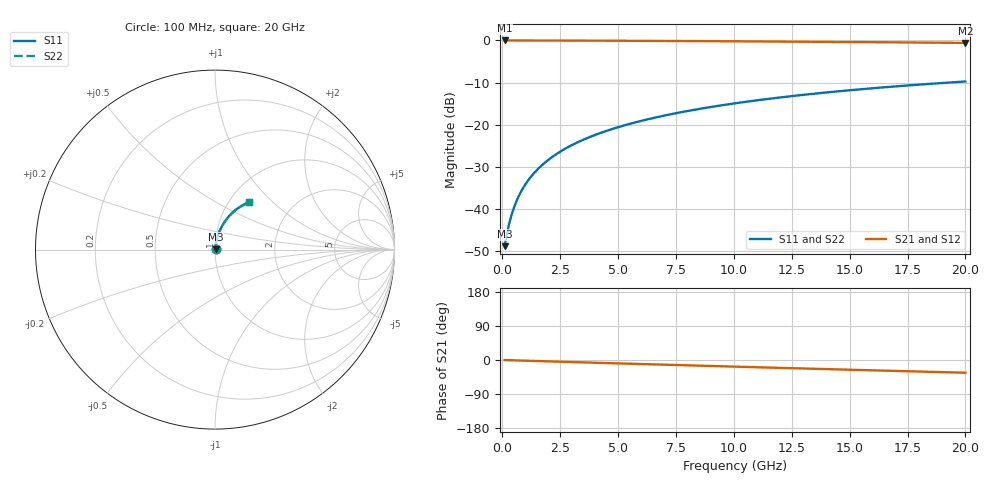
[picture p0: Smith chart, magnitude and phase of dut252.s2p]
! Touchstone file exported from HFSS 2026.1.0
!  File:  C:/ffzhzh/LocalFiles/Ansys_Project_Files/temp_train_BSMRDL_252_1782988634_6248.aedt
!  Generated:  06:38:31 PM Jul  2, 2026
!  Design:  BSMRDL
!  Project:  temp_train_BSMRDL_252_1782988634_6248
! Variables:
!  h_bsmrdl = 5.92um
!  h_ox = 20um
!  h_rdl = 5um
!  h_sub = 80um
!  h_tmrdl = 5um
!  h_tsv = 80um
!  h_via = 3um
!  l_bsmrdl = 498.15um
!  l_sub = 898.15um
!  l_tmrdl = 200um
!  m_sub = 200um
!  pitch = 30.57um
!  r_tsv = 6um
!  s_tmrdl = 10um
!  w_bsmrdl = 10.02um
!  w_sub = 500um
!  w_tmrdl = 12um
!  x_tsv_center1 = 206um
!  x_tsv_center2 = 714.17um
!  x_tsv_center3 = 926.17um
!  x_tsv_center4 = 1434.34um
!  x_tsv_center5 = 1646.34um
!  x_tsv_center6 = 2154.51um
# GHz S MA R 50.000000
! Terminal data exported
! Port[1] = BSM_RDL1_1_T1
! Port[2] = BSM_RDL1_1_T2
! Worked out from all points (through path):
!   200 points, 100 MHz to 20 GHz, reference 50 ohm
!   highest |S21| = -0.03 dB at 100 MHz (marker M1); lowest = -0.6 dB at 20 GHz (marker M2)
!   group delay of S21, straight-line fit = 4.66 ps
!   lowest |S11| = -48.8 dB at 100 MHz (marker M3), VSWR 1.01, Z = 50.3 + j0.202 ohm
!   |S11| at or under -10 dB: start of sweep to 19.32 GHz
!   |S22| runs from -48.8 to -9.8 dB; largest |S21 - S12| = 4.3e-15
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0.1  0.003628 33.7  0.997 -0.2  0.997 -0.2  0.003628 33.7
! Gamma 0 0 0 0
! Port Impedance 50 0 50 0
0.2  0.005054 52.1  0.9969 -0.4  0.9969 -0.4  0.005054 52.1
0.3  0.006742 61.6  0.9968 -0.6  0.9968 -0.6  0.006742 61.6
0.4  0.008519 67.1  0.9968 -0.7  0.9968 -0.7  0.008519 67.1
0.5  0.01034 70.6  0.9967 -0.9  0.9967 -0.9  0.01034 70.6
0.6  0.01218 73.1  0.9966 -1.1  0.9966 -1.1  0.01218 73.1
0.8  0.0159 76.1  0.9965 -1.5  0.9965 -1.5  0.0159 76.1
1.1  0.02155 78.5  0.9962 -2.0  0.9962 -2.0  0.02155 78.5
1.5  0.0291 79.9  0.9958 -2.7  0.9958 -2.7  0.0291 79.9
1.8  0.03476 80.3  0.9955 -3.3  0.9955 -3.3  0.03476 80.2
2.1  0.04041 80.3  0.9951 -3.8  0.9951 -3.8  0.04041 80.3
2.7  0.05161 80.1  0.9941 -4.9  0.9941 -4.9  0.05161 80.1
3.5  0.06636 79.2  0.9926 -6.3  0.9926 -6.3  0.06636 79.2
4.2  0.07907 78.3  0.9911 -7.5  0.9911 -7.5  0.07907 78.3
5  0.09339 77.1  0.9893 -8.9  0.9893 -8.9  0.09339 77.1
5.9  0.1092 75.8  0.987 -10.5  0.987 -10.5  0.1092 75.8
6.8  0.1248 74.4  0.9845 -12.1  0.9845 -12.1  0.1248 74.4
8.3  0.1503 72.1  0.98 -14.6  0.98 -14.6  0.1503 72.1
10.1  0.18 69.3  0.9741 -17.7  0.9741 -17.7  0.18 69.3
13.4  0.232 64.2  0.9618 -23.1  0.9618 -23.1  0.232 64.2
16.7  0.2805 59.2  0.948 -28.4  0.948 -28.4  0.2805 59.1
20  0.3251 54.2  0.933 -33.6  0.933 -33.6  0.3252 54.2
